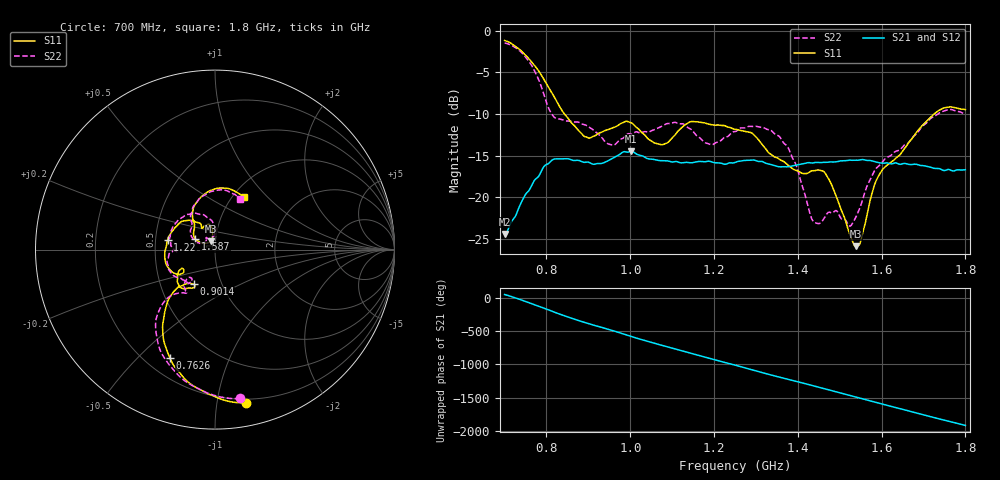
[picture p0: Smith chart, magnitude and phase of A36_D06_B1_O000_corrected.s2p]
! Created with skrf 1.9.0 (http://scikit-rf.org).
# Hz S RI R 50.0
!freq ReS11 ImS11 ReS21 ImS21 ReS12 ImS12 ReS22 ImS22
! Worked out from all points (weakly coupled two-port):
!   1601 points, 700 MHz to 1.8 GHz, reference 50 ohm
!   highest |S21| = -14.50 dB at 1.002 GHz (marker M1); lowest = -24.4 dB at 700.7 MHz (marker M2)
!   lowest |S11| = -25.9 dB at 1.538 GHz (marker M3), VSWR 1.11, Z = 47.6 + j4.36 ohm
!   |S11| at or under -10 dB: 842.7 MHz to 1.726 GHz (883.1 MHz wide, 68.8 % of centre)
!   |S22| runs from -23.5 to -1.5 dB; largest |S21 - S12| = 0.0035
!   S11 on the Smith chart (normalised r, x): 700 MHz: 0.17, -1.21; 762.6 MHz: 0.30, -0.63; 901.4 MHz: 0.74, -0.30; 1.22 GHz: 0.58, +0.07; 1.587 GHz: 0.80, +0.10; 1.8 GHz: 1.13, +0.75
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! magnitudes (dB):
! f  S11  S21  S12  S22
! 700 MHz  -1.2  -24.4  -24.2  -1.5
! 700.7 MHz  -1.2  -24.4  -24.1  -1.5
! 762.6 MHz  -3.7  -18.8  -18.8  -4.0
! 816.2 MHz  -7.8  -15.5  -15.5  -10.3
! 883.6 MHz  -12.4  -15.7  -15.6  -11.2
! 901.4 MHz  -12.9  -15.8  -15.8  -11.6
! 955.1 MHz  -11.7  -15.4  -15.4  -13.7
! 1.002 GHz  -11.1  -14.5  -14.6  -12.4
! 1.067 GHz  -13.6  -15.6  -15.5  -11.7
! 1.144 GHz  -10.9  -15.9  -15.9  -11.8
! 1.22 GHz  -11.4  -16.0  -16.0  -13.0
! 1.25 GHz  -11.8  -15.8  -15.8  -12.1
! 1.357 GHz  -15.5  -16.4  -16.3  -12.7
! 1.395 GHz  -16.8  -16.2  -16.1  -16.0
! 1.434 GHz  -16.8  -15.9  -15.8  -22.6
! 1.471 GHz  -17.6  -15.8  -15.8  -21.9
! 1.538 GHz  -25.9  -15.6  -15.5  -22.4
! 1.55 GHz  -25.2  -15.5  -15.5  -20.9
! 1.587 GHz  -18.0  -15.8  -15.8  -16.5
! 1.617 GHz  -16.0  -15.9  -15.9  -15.1
! 1.733 GHz  -9.7  -16.6  -16.6  -10.1
! 1.8 GHz  -9.5  -16.7  -16.7  -10.0
